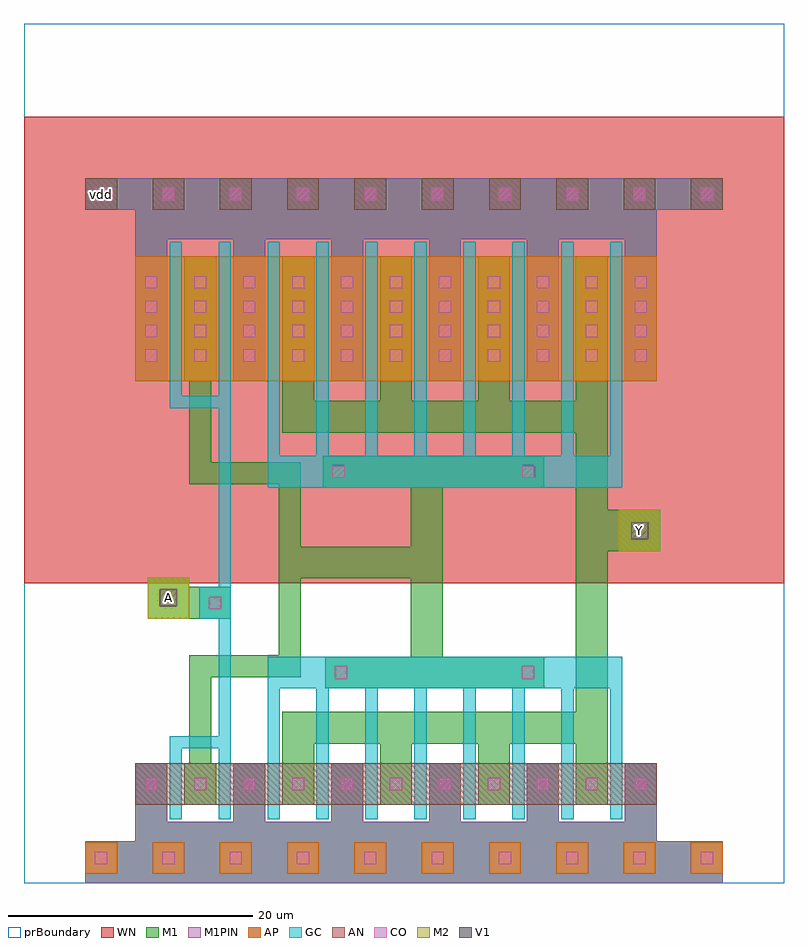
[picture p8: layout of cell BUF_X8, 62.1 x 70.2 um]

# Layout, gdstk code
import gdstk
lib = gdstk.Library(unit=1e-6, precision=1e-09)
def R(c, l, rs):  # rectangles x0, y0, x1, y1
    for r in rs: c.add(gdstk.rectangle(r[:2], r[2:], *l))
def A(c, l, x, y, w, h, nx, ny, dx, dy):  # array of equal rectangles
    R(c, l, [(x+i*dx, y+j*dy, x+i*dx+w, y+j*dy+h) for i in range(nx) for j in range(ny)])
def P(c, l, *ps):  # polygons
    for p in ps: c.add(gdstk.Polygon(p, *l))
AP = (3, 1)
AN = (3, 2)
GC = (8, 1)
CO = (11, 0)
M1 = (13, 0)
V1 = (19, 0)
M2 = (20, 0)
M1PIN = (48, 1)
WN = (140, 0)
prBoundary = (235, 4)

buf_x8 = lib.new_cell('BUF_X8')
A(buf_x8, AP, 5, 0.75, 2.6, 2.6, 10, 1, 5.5, 0)
R(buf_x8, AP, [(9.1,41,51.7,51.2)])
A(buf_x8, AN, 5, 55, 2.6, 2.6, 10, 1, 5.5, 0)
R(buf_x8, AN, [(9.1,6.4,51.7,9.8)])
P(buf_x8, GC, [(19.9,5.2),(19.9,18.5),(48.9,18.5),(48.9,5.2),(47.9,5.2),(47.9,15.9),(44.9,15.9),(44.9,5.2),(43.9,5.2),(43.9,15.9),(40.9,15.9),(40.9,5.2),(39.9,5.2),(39.9,15.9),(36.9,15.9),(36.9,5.2),(35.9,5.2),(35.9,15.9),(32.9,15.9),(32.9,5.2),(31.9,5.2),(31.9,15.9),(28.9,15.9),(28.9,5.2),(27.9,5.2),(27.9,15.9),(24.9,15.9),(24.9,5.2),(23.9,5.2),(23.9,15.9),(20.9,15.9),(20.9,5.2)],
  [(11.9,5.2),(11.9,12),(15.9,12),(15.9,21.6),(14.3,21.6),(14.3,24.2),(15.9,24.2),(15.9,38.8),(11.9,38.8),(11.9,52.4),(12.9,52.4),(12.9,39.8),(15.9,39.8),(15.9,52.4),(16.9,52.4),(16.9,5.2),(15.9,5.2),(15.9,11),(12.9,11),(12.9,5.2)],
  [(19.9,32.3),(19.9,52.4),(20.9,52.4),(20.9,34.9),(23.9,34.9),(23.9,52.4),(24.9,52.4),(24.9,34.9),(27.9,34.9),(27.9,52.4),(28.9,52.4),(28.9,34.9),(31.9,34.9),(31.9,52.4),(32.9,52.4),(32.9,34.9),(35.9,34.9),(35.9,52.4),(36.9,52.4),(36.9,34.9),(39.9,34.9),(39.9,52.4),(40.9,52.4),(40.9,34.9),(43.9,34.9),(43.9,52.4),(44.9,52.4),(44.9,34.9),(47.9,34.9),(47.9,52.4),(48.9,52.4),(48.9,32.3)])
A(buf_x8, CO, 5.8, 1.55, 1, 1, 10, 2, 5.5, 54.25)
A(buf_x8, CO, 9.9, 7.6, 1, 1, 3, 2, 4, 35)
A(buf_x8, CO, 17.9, 7.6, 1, 1, 9, 2, 4, 35)
A(buf_x8, CO, 9.9, 44.6, 1, 1, 3, 3, 4, 2)
A(buf_x8, CO, 17.9, 44.6, 1, 1, 9, 3, 4, 2)
R(buf_x8, CO, [(25.4,16.7,26.4,17.7), (40.7,16.7,41.7,17.7), (15.1,22.4,16.1,23.4), (25.2,33.1,26.2,34.1), (40.7,33.1,41.7,34.1)])
R(buf_x8, M1, [(5,2.6,9.1,3.4), (51.7,2.6,57.1,3.4)])
P(buf_x8, M1, [(5,0),(5,2.6),(9.1,2.6),(9.1,9.8),(11.7,9.8),(11.7,5),(17.1,5),(17.1,9.8),(19.7,9.8),(19.7,5),(25.1,5),(25.1,9.8),(27.7,9.8),(27.7,5),(33.1,5),(33.1,9.8),(35.7,9.8),(35.7,5),(41.1,5),(41.1,9.8),(43.7,9.8),(43.7,5),(49.1,5),(49.1,9.8),(51.7,9.8),(51.7,2.6),(57.1,2.6),(57.1,0)],
  [(10.1,21.6),(10.1,25),(13.5,25),(13.5,24.2),(16.9,24.2),(16.9,21.6)],
  [(13.1,6.4),(13.1,9.8),(13.5,9.8),(13.5,18.6),(20.8,18.6),(20.8,32.6),(13.5,32.6),(13.5,41),(13.1,41),(13.1,51.2),(15.7,51.2),(15.7,41),(15.3,41),(15.3,34.4),(22.6,34.4),(22.6,27.5),(31.6,27.5),(31.6,32.3),(24.4,32.3),(24.4,34.9),(42.5,34.9),(42.5,32.3),(34.2,32.3),(34.2,18.5),(42.5,18.5),(42.5,15.9),(24.6,15.9),(24.6,18.5),(31.6,18.5),(31.6,24.9),(22.6,24.9),(22.6,16.8),(15.3,16.8),(15.3,9.8),(15.7,9.8),(15.7,6.4)],
  [(21.1,6.4),(21.1,14),(45.1,14),(45.1,36.8),(21.1,36.8),(21.1,51.2),(23.7,51.2),(23.7,39.4),(29.1,39.4),(29.1,51.2),(31.7,51.2),(31.7,39.4),(37.1,39.4),(37.1,51.2),(39.7,51.2),(39.7,39.4),(45.1,39.4),(45.1,51.2),(47.7,51.2),(47.7,30.5),(52,30.5),(52,27.1),(47.7,27.1),(47.7,6.4),(45.1,6.4),(45.1,11.4),(39.7,11.4),(39.7,6.4),(37.1,6.4),(37.1,11.4),(31.7,11.4),(31.7,6.4),(29.1,6.4),(29.1,11.4),(23.7,11.4),(23.7,6.4)],
  [(9.1,41),(9.1,55),(5,55),(5,57.6),(57.1,57.6),(57.1,55),(51.7,55),(51.7,41),(49.1,41),(49.1,52.6),(43.7,52.6),(43.7,41),(41.1,41),(41.1,52.6),(35.7,52.6),(35.7,41),(33.1,41),(33.1,52.6),(27.7,52.6),(27.7,41),(25.1,41),(25.1,52.6),(19.7,52.6),(19.7,41),(17.1,41),(17.1,52.6),(11.7,52.6),(11.7,41)])
R(buf_x8, V1, [(11.1,22.6,12.5,24), (49.6,28.1,51,29.5)])
R(buf_x8, M2, [(10.1,21.6,13.5,25), (48.6,27.1,52,30.5)])
A(buf_x8, M1PIN, 9.1, 5, 2.6, 4.8, 6, 1, 8, 0)
A(buf_x8, M1PIN, 9.1, 41, 2.6, 11.6, 6, 1, 8, 0)
R(buf_x8, M1PIN, [(5,0,57.1,3.4), (9.1,3.4,51.7,5), (9.1,52.6,51.7,55), (5,55,57.1,57.6)])
R(buf_x8, WN, [(0,24.5,62.1,62.6)])
R(buf_x8, prBoundary, [(0,0,62.1,70.2)])
buf_x8.add(gdstk.Label('A', (11.8,23.3), layer=49, texttype=0))
buf_x8.add(gdstk.Label('Y', (50.3,28.8), layer=49, texttype=0))
buf_x8.add(gdstk.Label('Y', (50.3,28.8), layer=48, texttype=0))
buf_x8.add(gdstk.Label('A', (11.8,23.3), layer=48, texttype=0))
buf_x8.add(gdstk.Label('vdd', (6.3,56.3), layer=48, texttype=0))
buf_x8.add(gdstk.Label('vdd', (6.3,56.3), layer=48, texttype=0))

lib.write_gds('BUF_X8.gds')
